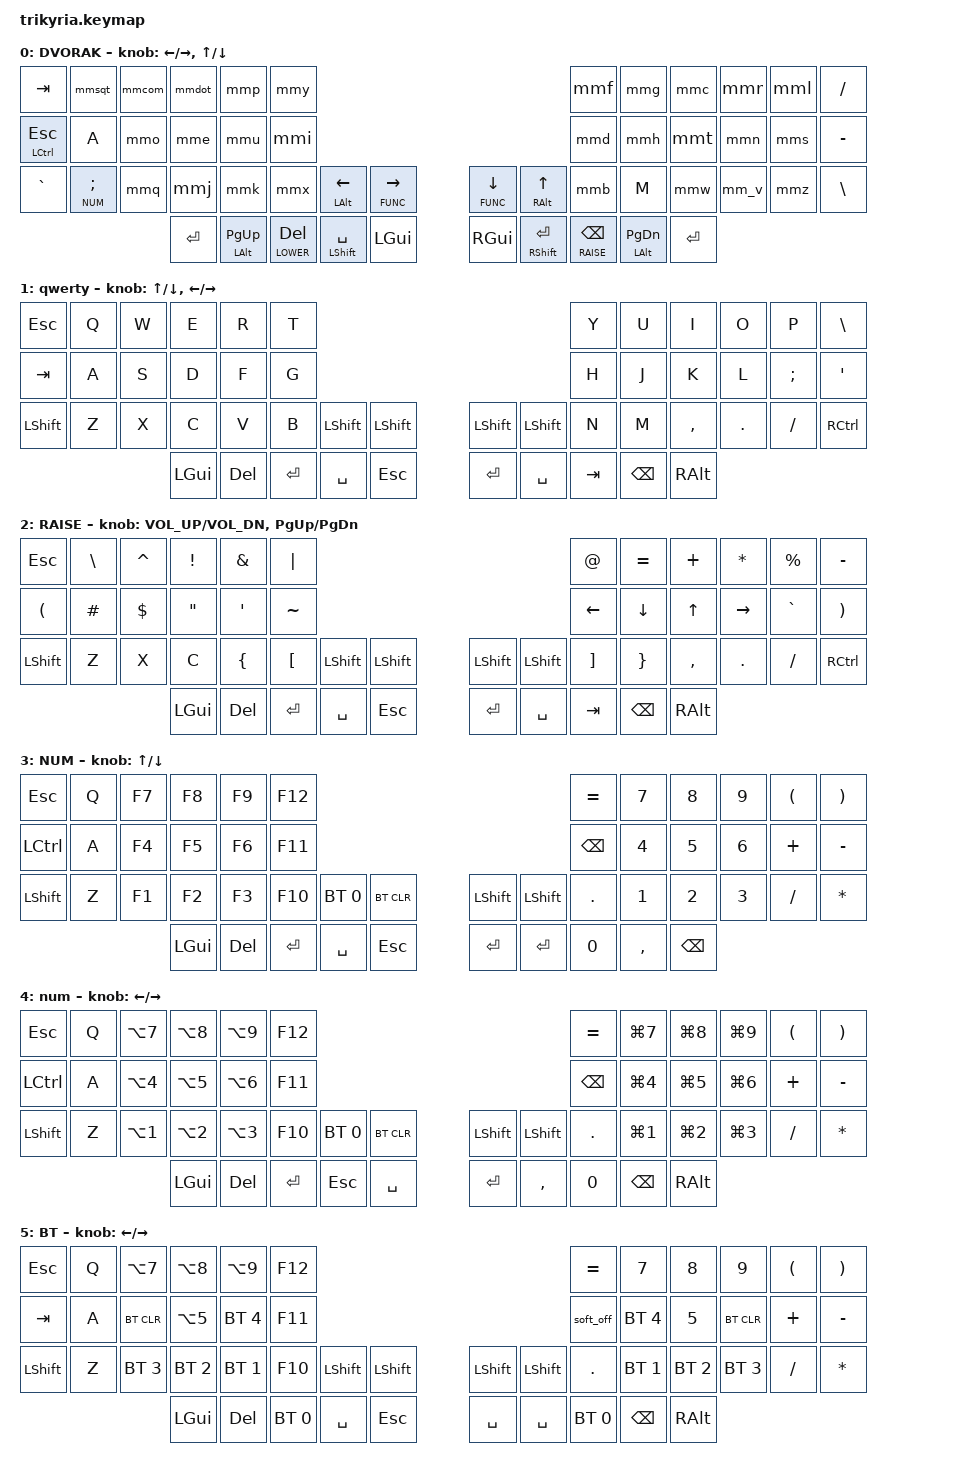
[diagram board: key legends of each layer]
/*
 * Copyright (c) 2020 The ZMK Contributors
 *
 * SPDX-License-Identifier: MIT
 */

#include <behaviors.dtsi>
#include <dt-bindings/zmk/bt.h>
#include <dt-bindings/zmk/keys.h>

#define DEFAULT 0
#define QWERTY  1
#define RAISE   2
#define LOWER   3
#define NUM     4
#define FUNC    5

/ {

behaviors {

    mmc: morph_c {
        compatible = "zmk,behavior-mod-morph";
        label = "morph_c";
        #binding-cells = <0>;
        bindings = <&kp C>, <&kp I>;
        mods = <(MOD_LGUI|MOD_RGUI|MOD_LCTL|MOD_LALT|MOD_RALT)>;
        keep-mods = <(MOD_LGUI|MOD_RGUI|MOD_LCTL|MOD_LALT|MOD_RALT)>;
      };

    mmg: morph_g {
        compatible = "zmk,behavior-mod-morph";
        label = "morph_g";
        #binding-cells = <0>;
        bindings = <&kp G>, <&kp U>;
        mods = <(MOD_LGUI|MOD_RGUI|MOD_LCTL|MOD_LALT|MOD_RALT)>;
        keep-mods = <(MOD_LGUI|MOD_RGUI|MOD_LCTL|MOD_LALT|MOD_RALT)>;
      };

    mmp: morph_p {
        compatible = "zmk,behavior-mod-morph";
        label = "morph_p";
        #binding-cells = <0>;
        bindings = <&kp P>, <&kp R>;
        mods = <(MOD_LGUI|MOD_RGUI|MOD_LCTL|MOD_LALT|MOD_RALT)>;
        keep-mods = <(MOD_LGUI|MOD_RGUI|MOD_LCTL|MOD_LALT|MOD_RALT)>;
      };

    mmy: morph_y {
        compatible = "zmk,behavior-mod-morph";
        label = "morph_y";
        #binding-cells = <0>;
        bindings = <&kp Y>, <&kp T>;
        mods = <(MOD_LGUI|MOD_RGUI|MOD_LCTL|MOD_LALT|MOD_RALT)>;
        keep-mods = <(MOD_LGUI|MOD_RGUI|MOD_LCTL|MOD_LALT|MOD_RALT)>;
      };

    mmj: morph_j {
        compatible = "zmk,behavior-mod-morph";
        label = "morph_j";
        #binding-cells = <0>;
        bindings = <&kp J>, <&kp C>;
        mods = <(MOD_LGUI|MOD_RGUI|MOD_LCTL|MOD_LALT|MOD_RALT)>;
        keep-mods = <(MOD_LGUI|MOD_RGUI|MOD_LCTL|MOD_LALT|MOD_RALT)>;
      };

    mmb: morph_b {
        compatible = "zmk,behavior-mod-morph";
        label = "morph_b";
        #binding-cells = <0>;
        bindings = <&kp B>, <&kp N>;
        mods = <(MOD_LGUI|MOD_RGUI|MOD_LCTL|MOD_LALT|MOD_RALT)>;
        keep-mods = <(MOD_LGUI|MOD_RGUI|MOD_LCTL|MOD_LALT|MOD_RALT)>;
      };

    mmr: morph_r {
        compatible = "zmk,behavior-mod-morph";
        label = "morph_r";
        #binding-cells = <0>;
        bindings = <&kp R>, <&kp O>;
        mods = <(MOD_LGUI|MOD_RGUI|MOD_LCTL|MOD_LALT|MOD_RALT)>;
        keep-mods = <(MOD_LGUI|MOD_RGUI|MOD_LCTL|MOD_LALT|MOD_RALT)>;
      };

    mmh: morph_h {
        compatible = "zmk,behavior-mod-morph";
        label = "morph_h";
        #binding-cells = <0>;
        bindings = <&kp H>, <&kp J>;
        mods = <(MOD_LGUI|MOD_RGUI|MOD_LCTL|MOD_LALT|MOD_RALT)>;
        keep-mods = <(MOD_LGUI|MOD_RGUI|MOD_LCTL|MOD_LALT|MOD_RALT)>;
      };

    mme: morph_e {
        compatible = "zmk,behavior-mod-morph";
        label = "morph_e";
        #binding-cells = <0>;
        bindings = <&kp E>, <&kp D>;
        mods = <(MOD_LGUI|MOD_RGUI|MOD_LCTL|MOD_LALT|MOD_RALT)>;
        keep-mods = <(MOD_LGUI|MOD_RGUI|MOD_LCTL|MOD_LALT|MOD_RALT)>;
      };

    mmcom: morph_com {
        compatible = "zmk,behavior-mod-morph";
        label = "morph_com";
        #binding-cells = <0>;
        bindings = <&kp COMMA>, <&kp W>;
        mods = <(MOD_LGUI|MOD_RGUI|MOD_LCTL|MOD_LALT|MOD_RALT)>;
        keep-mods = <(MOD_LGUI|MOD_RGUI|MOD_LCTL|MOD_LALT|MOD_RALT)>;
      };

    mmq: morph_q {
        compatible = "zmk,behavior-mod-morph";
        label = "morph_q";
        #binding-cells = <0>;
        bindings = <&kp Q>, <&kp X>;
        mods = <(MOD_LGUI|MOD_RGUI|MOD_LCTL|MOD_LALT|MOD_RALT)>;
        keep-mods = <(MOD_LGUI|MOD_RGUI|MOD_LCTL|MOD_LALT|MOD_RALT)>;
      };

    mmo: morph_o {
        compatible = "zmk,behavior-mod-morph";
        label = "morph_o";
        #binding-cells = <0>;
        bindings = <&kp O>, <&kp S>;
        mods = <(MOD_LGUI|MOD_RGUI|MOD_LCTL|MOD_LALT|MOD_RALT)>;
        keep-mods = <(MOD_LGUI|MOD_RGUI|MOD_LCTL|MOD_LALT|MOD_RALT)>;
      };


    mms: morph_s {
        compatible = "zmk,behavior-mod-morph";
        label = "morph_s";
        #binding-cells = <0>;
        bindings = <&kp S>, <&kp SEMI>;
        mods = <(MOD_LGUI|MOD_RGUI|MOD_LCTL|MOD_LALT|MOD_RALT)>;
        keep-mods = <(MOD_LGUI|MOD_RGUI|MOD_LCTL|MOD_LALT|MOD_RALT)>;
      };

    mmf: morph_f {
        compatible = "zmk,behavior-mod-morph";
        label = "morph_f";
        #binding-cells = <0>;
        bindings = <&kp F>, <&kp Y>;
        mods = <(MOD_LGUI|MOD_RGUI|MOD_LCTL|MOD_LALT|MOD_RALT)>;
        keep-mods = <(MOD_LGUI|MOD_RGUI|MOD_LCTL|MOD_LALT|MOD_RALT)>;
      };

    mmdot: morph_dot {
        compatible = "zmk,behavior-mod-morph";
        label = "morph_dot";
        #binding-cells = <0>;
        bindings = <&kp DOT>, <&kp E>;
        mods = <(MOD_LGUI|MOD_RGUI|MOD_LCTL|MOD_LALT|MOD_RALT)>;
        keep-mods = <(MOD_LGUI|MOD_RGUI|MOD_LCTL|MOD_LALT|MOD_RALT)>;
      };

    mmt: morph_t {
        compatible = "zmk,behavior-mod-morph";
        label = "morph_t";
        #binding-cells = <0>;
        bindings = <&kp T>, <&kp K>;
        mods = <(MOD_LGUI|MOD_RGUI|MOD_LCTL|MOD_LALT|MOD_RALT)>;
        keep-mods = <(MOD_LGUI|MOD_RGUI|MOD_LCTL|MOD_LALT|MOD_RALT)>;
      };

    mmi: morph_i {
        compatible = "zmk,behavior-mod-morph";
        label = "morph_i";
        #binding-cells = <0>;
        bindings = <&kp I>, <&kp G>;
        mods = <(MOD_LGUI|MOD_RGUI|MOD_LCTL|MOD_LALT|MOD_RALT)>;
        keep-mods = <(MOD_LGUI|MOD_RGUI|MOD_LCTL|MOD_LALT|MOD_RALT)>;
      };

    mmk: morph_k {
        compatible = "zmk,behavior-mod-morph";
        label = "morph_k";
        #binding-cells = <0>;
        bindings = <&kp K>, <&kp V>;
        mods = <(MOD_LGUI|MOD_RGUI|MOD_LCTL|MOD_LALT|MOD_RALT)>;
        keep-mods = <(MOD_LGUI|MOD_RGUI|MOD_LCTL|MOD_LALT|MOD_RALT)>;
      };

    mmx: morph_x {
        compatible = "zmk,behavior-mod-morph";
        label = "morph_x";
        #binding-cells = <0>;
        bindings = <&kp X>, <&kp B>;
        mods = <(MOD_LGUI|MOD_RGUI|MOD_LCTL|MOD_LALT|MOD_RALT)>;
        keep-mods = <(MOD_LGUI|MOD_RGUI|MOD_LCTL|MOD_LALT|MOD_RALT)>;
      };

    mmd: morph_d {
        compatible = "zmk,behavior-mod-morph";
        label = "morph_d";
        #binding-cells = <0>;
        bindings = <&kp D>, <&kp H>;
        mods = <(MOD_LGUI|MOD_RGUI|MOD_LCTL|MOD_LALT|MOD_RALT)>;
        keep-mods = <(MOD_LGUI|MOD_RGUI|MOD_LCTL|MOD_LALT|MOD_RALT)>;
      };

    mml: morph_l {
        compatible = "zmk,behavior-mod-morph";
        label = "morph_l";
        #binding-cells = <0>;
        bindings = <&kp L>, <&kp P>;
        mods = <(MOD_LGUI|MOD_RGUI|MOD_LCTL|MOD_LALT|MOD_RALT)>;
        keep-mods = <(MOD_LGUI|MOD_RGUI|MOD_LCTL|MOD_LALT|MOD_RALT)>;
      };

    mmz: morph_z {
        compatible = "zmk,behavior-mod-morph";
        label = "morph_z";
        #binding-cells = <0>;
        bindings = <&kp Z>, <&kp FSLH>;
        mods = <(MOD_LGUI|MOD_RGUI|MOD_LCTL|MOD_LALT|MOD_RALT)>;
        keep-mods = <(MOD_LGUI|MOD_RGUI|MOD_LCTL|MOD_LALT|MOD_RALT)>;
      };

    mmu: morph_u {
        compatible = "zmk,behavior-mod-morph";
        label = "morph_u";
        #binding-cells = <0>;
        bindings = <&kp U>, <&kp F>;
        mods = <(MOD_LGUI|MOD_RGUI|MOD_LCTL|MOD_LALT|MOD_RALT)>;
        keep-mods = <(MOD_LGUI|MOD_RGUI|MOD_LCTL|MOD_LALT|MOD_RALT)>;
      };

    mmn: morph_n {
        compatible = "zmk,behavior-mod-morph";
        label = "morph_n";
        #binding-cells = <0>;
        bindings = <&kp N>, <&kp L>;
        mods = <(MOD_LGUI|MOD_RGUI|MOD_LCTL|MOD_LALT|MOD_RALT)>;
        keep-mods = <(MOD_LGUI|MOD_RGUI|MOD_LCTL|MOD_LALT|MOD_RALT)>;
      };

    mmw: morph_w {
        compatible = "zmk,behavior-mod-morph";
        label = "morph_w";
        #binding-cells = <0>;
        bindings = <&kp W>, <&kp COMMA>;
        mods = <(MOD_LGUI|MOD_RGUI|MOD_LCTL|MOD_LALT|MOD_RALT)>;
        keep-mods = <(MOD_LGUI|MOD_RGUI|MOD_LCTL|MOD_LALT|MOD_RALT)>;
      };

    mm_v: morph_v {
        compatible = "zmk,behavior-mod-morph";
        label = "morph_v";
        #binding-cells = <0>;
        bindings = <&kp V>, <&kp DOT>;
        mods = <(MOD_LGUI|MOD_RGUI|MOD_LCTL|MOD_LALT|MOD_RALT)>;
        keep-mods = <(MOD_LGUI|MOD_RGUI|MOD_LCTL|MOD_LALT|MOD_RALT)>;
      };

    mmsqt: morph_sqt {
        compatible = "zmk,behavior-mod-morph";
        label = "morph_sqt";
        #binding-cells = <0>;
        bindings = <&kp SQT>, <&kp Q>;
        mods = <(MOD_LGUI|MOD_RGUI|MOD_LCTL|MOD_LALT|MOD_RALT)>;
        keep-mods = <(MOD_LGUI|MOD_RGUI|MOD_LCTL|MOD_LALT|MOD_RALT)>;
      };

      };


    keymap {
        compatible = "zmk,keymap";

        default_layer {

        display-name = "DVORAK"  ;

      // ---------------------------------------------------------------------------------------------------------------------------------
      // |  TAB  |  '  |  ,  |  .   |  P   |  Y   |                                          |  F   |  G    |  C    |  R   |   L   |   /  |
      // |  C_ESC |  A  |  O  |  E   |  U   |  I   |                                          |  D   |  H    |  T    |  N   |   S   |   -  |
      // |   `   |  ;  |  Q  |  J   |  K   |  X   | L_SHIFT  | D_CTRL |  | U_CTRL | R_SHIFT |  B   |  M    |  W    |  V   |   Z   |   \ |
      //                     | L-ALT  | L-ALT  | DEL  |  S_SPACE  |   LGUI   |  |   RGUI   |  S_RET  |  BSPC | R-ALT  | R-ALT |
            bindings = <
        &kp TAB        &mmsqt  &mmcom &mmdot &mmp &mmy 							                        &mmf            &mmg          &mmc    &mmr &mml &kp FSLH
		&mt LCTRL ESC  &kp A	&mmo  &mme	  &mmu	&mmi									                           &mmd            &mmh          &mmt    &mmn &mms &kp MINUS
		&kp GRAVE	   &lt NUM SEMI &mmq   &mmj	  &mmk	&mmx   &mt LALT LEFT  &lt FUNC RIGHT   &lt FUNC DOWN  &mt RALT UP  &mmb            &kp M          &mmw    &mm_v &mmz &kp BSLH
                    &kp RET  &mt LALT PG_UP &lt LOWER DEL  &mt LSHFT SPACE &kp LGUI        &kp RGUI       &mt RSHIFT RET &lt RAISE BSPC  &mt LALT PG_DN &kp RET

            >;

            sensor-bindings = <&inc_dec_kp LEFT RIGHT &inc_dec_kp UP DOWN>;
        };

    qwerty {

        display-name = "qwerty"  ;


      // ---------------------------------------------------------------------------------------------------------------------------------
      // |  ESC      |  Q  |  W  |  E   |  R   |  T   |                                          |  Y   |  U    |  I    |  O   |   P   |   \  |
      // |  TAB      |  A  |  S  |  D   |  F   |  G   |                                          |  H   |  J    |  K    |  L   |   ;   |   '  |
      // | SHIFT     |  Z  |  X  |  C   |  V   |  B   | L SHIFT | L SHIFT |  | L SHIFT | L SHIFT |  N   |  M    |  ,    |  .   |   /   | CTRL |
      //                   | GUI  | DEL  | RET  |  SPACE  |   ESC   |  |   RET   |  SPACE  | TAB  | BSPC  | R-ALT |
      bindings = <
        &kp ESC   &kp Q &kp W &kp E &kp R &kp T                                                &kp Y &kp U  &kp I     &kp O   &kp P    &kp BSLH
        &kp TAB   &kp A &kp S &kp D &kp F &kp G                                                &kp H &kp J  &kp K     &kp L   &kp SEMI &kp SQT
        &kp LSHFT &kp Z &kp X &kp C &kp V &kp B &kp LSHFT &kp LSHFT        &kp LSHFT &kp LSHFT &kp N &kp M  &kp COMMA &kp DOT &kp FSLH &kp RCTRL
        &kp LGUI &kp DEL &kp RET &kp SPACE &kp ESC        &kp RET  &kp SPACE  &kp TAB &kp BSPC &kp RALT
        >;
      sensor-bindings = <&inc_dec_kp UP DOWN &inc_dec_kp LEFT RIGHT>;
    };

    raise {

            display-name = "RAISE"  ;


      // ---------------------------------------------------------------------------------------------------------------------------------
      // |     |  \  |  ^  |  !   |  &   |  |   |                                          |  @   |  =    |  +    |  *   |   %   |   -  |
      // | (   |  #  |  $  |  "   |  '   |  ~   |                                          |  ←   |  ↓  |  ↑   |  →   |  `  |   )  |
      // |     |     |     |      | {    |  [   | L SHIFT | L SHIFT |  | L SHIFT | L SHIFT |  ]   |  }    |  ,    |  .   |   /   | CTRL |
      //                     | GUI  | DEL  | RET  |  SPACE  |   ESC   |  |   RET   |  SPACE  | TAB  | BSPC  | R-ALT |
      bindings = <
        &kp ESC   &kp BSLH &kp CARET &kp EXCL &kp AMPS &kp PIPE                             &kp AT &kp EQUAL &kp PLUS &kp ASTRK &kp PRCNT &kp MINUS
        &kp LPAR   &kp HASH    &kp DLLR     &kp DQT    &kp SQT    &kp TILDE          &kp LEFT   &kp DOWN    &kp UP    &kp RIGHT    &kp GRAVE  &kp RPAR
        &kp LSHFT &kp Z &kp X &kp C &kp LBRC &kp LBKT &kp LSHFT &kp LSHFT        &kp LSHFT &kp LSHFT &kp RBKT &kp RBRC  &kp COMMA &kp DOT &kp FSLH &kp RCTRL
        &kp LGUI &kp DEL &kp RET &kp SPACE &kp ESC        &kp RET  &kp SPACE  &kp TAB &kp BSPC &kp RALT
        >;
      sensor-bindings = <&inc_dec_kp C_VOL_UP C_VOL_DN &inc_dec_kp PG_UP PG_DN>;
    };

    lower {

                display-name = "NUM"  ;


      // ---------------------------------------------------------------------------------------------------------------------------------
      // |  ESC  |  Q  |  F7  |  F8   |  F9   |  F12   |                                          |   =   |  7    |  8    |  9   |   (   |    )  |
      // |  TAB  |  A  |  F4  |  F5   |  F6   |  F11   |                                          |  BSPC   |  4    |  5    |  6   |   +   |   -  |
      // | SHIFT |  Z  |  F1  |  F2   |  F3   |  F10   | L SHIFT | L SHIFT |  | L SHIFT | L SHIFT |  .   |  1    |  2    |  3   |   /   | * |
      //                     | GUI  | DEL  | RET  |  SPACE  |   ESC   |  |   RET   |  SPACE  | TAB  | 0  | 00|
      bindings = <
        &kp ESC   &kp Q &kp F7 &kp F8 &kp F9 &kp F12                                                 &kp EQUAL  &kp N7  &kp N8  &kp N9  &kp LPAR    &kp RPAR
        &kp LCTRL &kp A &kp F4 &kp F5 &kp F6 &kp F11                                                 &kp BSPC  &kp N4  &kp N5  &kp N6  &kp PLUS    &kp MINUS
        &kp LSHFT &kp Z &kp F1 &kp F2 &kp F3 &kp F10  &bt BT_SEL 0 &bt BT_CLR &kp LSHFT &kp LSHFT    &kp DOT    &kp N1  &kp N2  &kp N3  &kp FSLH    &kp ASTRK
        &kp LGUI &kp DEL &kp RET  &kp SPACE &kp ESC                            &kp RET  &kp RET  &kp N0     &kp COMMA &kp BSPC
        >;
      sensor-bindings = <&inc_dec_kp UP DOWN>;
    };

   num {
      // ---------------------------------------------------------------------------------------------------------------------------------
      // |  ESC  |  Q  |  F7  |  F8   |  F9   |  F12   |                                          |   =   |  7    |  8    |  9   |   (   |    )  |
      // |  TAB  |  A  |  F4  |  F5   |  F6   |  F11   |                                          |  BSPC   |  4    |  5    |  6   |   +   |   -  |
      // | SHIFT |  Z  |  F1  |  F2   |  F3   |  F10   | L SHIFT | L SHIFT |  | L SHIFT | L SHIFT |  .   |  1    |  2    |  3   |   /   | * |
      //                     | GUI  | DEL  | RET  |  SPACE  |   ESC   |  |   RET   |  SPACE  | TAB  | 0  | 00|
      bindings = <
        &kp ESC   &kp Q &kp LA(N7) &kp LA(N8) &kp LA(N9) &kp F12                                                 &kp EQUAL &kp LG(N7)  &kp LG(N8)  &kp LG(N9)  &kp LPAR    &kp RPAR
        &kp LCTRL &kp A &kp LA(N4) &kp LA(N5) &kp LA(N6) &kp F11                                                 &kp BSPC  &kp LG(N4)  &kp LG(N5)  &kp LG(N6)  &kp PLUS    &kp MINUS
        &kp LSHFT &kp Z &kp LA(N1) &kp LA(N2) &kp LA(N3) &kp F10  &bt BT_SEL 0 &bt BT_CLR &kp LSHFT &kp LSHFT    &kp DOT   &kp LG(N1)  &kp LG(N2)  &kp LG(N3)  &kp FSLH    &kp ASTRK
        &kp LGUI &kp DEL &kp RET &kp ESC  &kp SPACE        &kp RET  &kp COMMA  &kp N0 &kp BSPC &kp RALT
        >;
      sensor-bindings = <&inc_dec_kp LEFT RIGHT>;
    };
 
   
    func {
                display-name = "BT"  ;


      // ---------------------------------------------------------------------------------------------------------------------------------
      // |  ESC  |  Q  |  F7  |  F8   |  F9   |  F12   |                                          |   =   |  7    |  8    |  9   |   (   |    )  |
      // |  TAB  |  A  |  F4  |  F5   |  F6   |  F11   |                                          |  BSPC   |  4    |  5    |  6   |   +   |   -  |
      // | SHIFT |  Z  |  F1  |  F2   |  F3   |  F10   | L SHIFT | L SHIFT |  | L SHIFT | L SHIFT |  .   |  1    |  2    |  3   |   /   | * |
      //                     | GUI  | DEL  | RET  |  SPACE  |   ESC   |  |   RET   |  SPACE  | TAB  | 0  | 00|
      bindings = <
 &kp ESC   &kp Q &kp LA(N7) &kp LA(N8) &kp LA(N9) &kp F12                                                             &kp EQUAL  &kp N7        &kp N8        &kp N9      &kp LPAR  &kp RPAR
 &kp TAB   &kp A &bt BT_CLR &kp LA(N5) &bt BT_SEL 4 &kp F11                                                           &soft_off  &bt BT_SEL 4  &kp N5        &bt BT_CLR  &kp PLUS   &kp MINUS
 &kp LSHFT &kp Z &bt BT_SEL 3 &bt BT_SEL 2 &bt BT_SEL 1 &kp F10   &kp LSHFT &kp LSHFT &kp LSHFT &kp LSHFT             &kp DOT    &bt BT_SEL 1  &bt BT_SEL 2  &bt BT_SEL 3  &kp FSLH    &kp ASTRK
 &kp LGUI &kp DEL &bt BT_SEL 0 &kp SPACE &kp ESC       &kp SPACE    &kp SPACE  &bt BT_SEL 0  &kp BSPC &kp RALT
        >;

      sensor-bindings = <&inc_dec_kp LEFT RIGHT>;
    };




    };
};
